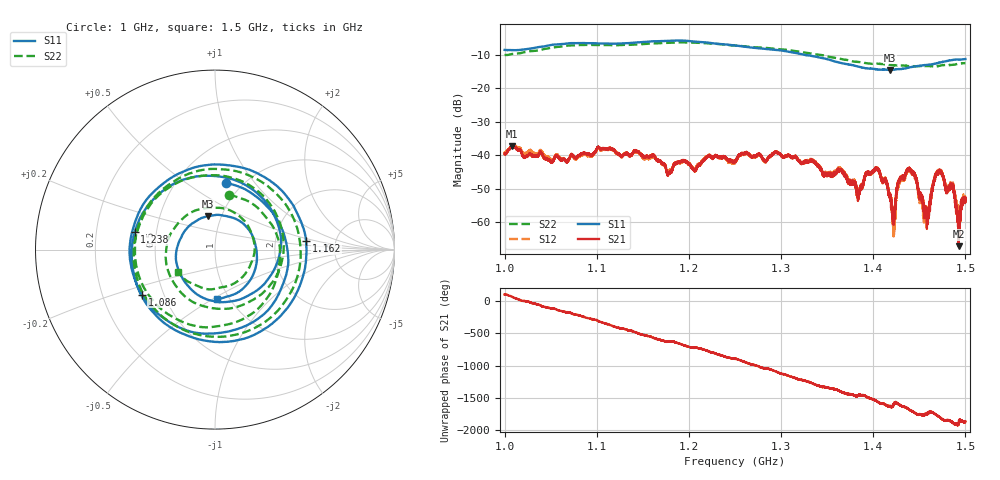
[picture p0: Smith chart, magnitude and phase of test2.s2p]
!Keysight Technologies N9923A: A.08.15
!Date: Friday, 16 February 2024 21:16:40
!Timezone: (GMT-05:00) Eastern Time (US & Canada)
!Model: N9923A
!Serial: MY52412730
!GPS Latitude:
!GPS Longitude:
!GPS TimeStamp: 0001-01-01 00:00:00Z
!GPS Seconds Since Last Read: 0
!CHECKSUM:1720261653
!Correction: S11(ON Q)S21(ON Q)S12(ON Q)S22(ON Q)
!S2P File: Measurements:S11,S21,S12,S22:
# Hz S DB R 50
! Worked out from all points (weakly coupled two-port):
!   10001 points, 1 GHz to 1.5 GHz, reference 50 ohm
!   highest |S21| = -37.21 dB at 1.008 GHz (marker M1); lowest = -67.3 dB at 1.493 GHz (marker M2)
!   lowest |S11| = -14.4 dB at 1.419 GHz (marker M3), VSWR 1.47, Z = 43.3 + j16.7 ohm
!   |S11| at or under -10 dB: 1.326933 GHz to 1.326994 GHz (61.65 kHz wide, 0.00465 % of centre); 1.327002 GHz to 1.327143 GHz (140.4 kHz wide, 0.0106 % of centre); 1.327 GHz to end of sweep
!   |S22| runs from -13.4 to -6.2 dB; largest |S21 - S12| = 0.0021
!   S11 on the Smith chart (normalised r, x): 1 GHz: 0.84, +0.73; 1.086 GHz: 0.38, -0.25; 1.162 GHz: 3.02, +0.39; 1.238 GHz: 0.38, +0.09; 1.5 GHz: 0.87, -0.52
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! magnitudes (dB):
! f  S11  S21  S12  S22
! 1 GHz  -8.5  -39.7  -39.3  -10.0
! 1.008 GHz  -8.5  -37.2  -37.3  -9.7
! 1.083 GHz  -6.4  -39.6  -39.9  -7.0
! 1.086 GHz  -6.4  -39.5  -39.7  -7.0
! 1.162 GHz  -5.9  -40.3  -40.5  -6.5
! 1.167 GHz  -5.8  -41.5  -41.6  -6.5
! 1.178 GHz  -5.7  -45.0  -44.9  -6.3
! 1.238 GHz  -6.8  -40.5  -40.5  -6.9
! 1.25 GHz  -7.1  -41.6  -42.4  -7.1
! 1.333 GHz  -10.3  -41.4  -41.5  -9.6
! 1.384 GHz  -13.5  -51.7  -51.1  -12.1
! 1.404 GHz  -14.2  -44.2  -44.2  -12.6
! 1.417 GHz  -14.4  -51.1  -51.3  -12.8
! 1.419 GHz  -14.4  -52.3  -52.3  -12.9
! 1.422 GHz  -14.4  -59.6  -61.0  -13.1
! 1.428 GHz  -14.2  -48.0  -48.6  -13.1
! 1.44 GHz  -13.7  -44.3  -44.9  -13.4
! 1.457 GHz  -13.0  -57.0  -58.9  -13.3
! 1.472 GHz  -12.2  -44.8  -44.6  -13.2
! 1.486 GHz  -11.5  -48.9  -48.6  -12.9
! 1.493 GHz  -11.3  -67.3  -61.0  -12.6
! 1.5 GHz  -11.2  -53.3  -53.1  -12.4
